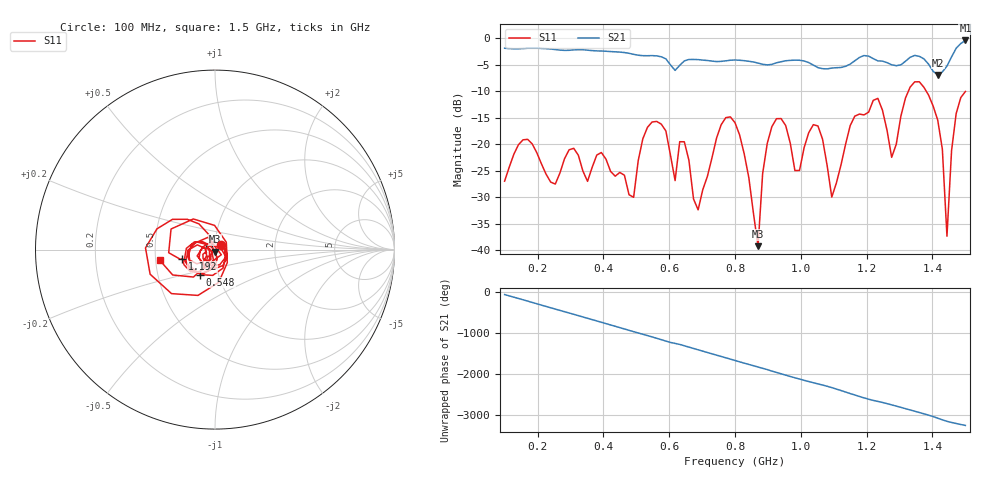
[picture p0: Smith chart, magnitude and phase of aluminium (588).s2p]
! NanoVNA-App
! Date: 2025-09-25 14:59:51
! Start: 100MHz Stop: 1,5GHz Points: 101
! S-Parameter data: F S11 S21 S12 S22
# Hz S RI R 50
!  Frequency  S11_Real  S11_Imag  S21_Real  S21_Imag  S12_Real  S12_Imag  S22_Real  S22_Imag
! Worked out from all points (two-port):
!   101 points, 100 MHz to 1.5 GHz, reference 50 ohm
!   highest |S21| = -0.46 dB at 1.5 GHz (marker M1); lowest = -6.9 dB at 1.416 GHz (marker M2)
!   |S21| within 3 dB of the highest: start of sweep to 570 MHz; 1.459 GHz to end of sweep (the widest 2 of 4)
!   lowest |S11| = -39.2 dB at 870 MHz (marker M3), VSWR 1.02, Z = 50.1 - j1.09 ohm
!   |S11| at or under -10 dB: start of sweep to 1.327 GHz; 1.381 GHz to end of sweep
!   S12 and S22 are empty: the file has one direction only
!   S11 on the Smith chart (normalised r, x): 100 MHz: 1.07, +0.06; 548 MHz: 0.82, -0.23; 1.192 GHz: 0.69, -0.07; 1.5 GHz: 0.53, -0.07
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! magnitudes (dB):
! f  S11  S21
! 100 MHz  -27.0  -1.9
! 156 MHz  -19.2  -2.0
! 338 MHz  -25.1  -2.2
! 492 MHz  -30.0  -3.1
! 548 MHz  -15.8  -3.3
! 576 MHz  -16.2  -3.5
! 646 MHz  -19.5  -4.3
! 688 MHz  -32.4  -4.1
! 800 MHz  -15.9  -4.1
! 870 MHz  -39.2  -4.7
! 912 MHz  -16.7  -5.0
! 996 MHz  -24.9  -4.2
! 1.038 GHz  -16.3  -5.1
! 1.094 GHz  -30.0  -5.7
! 1.192 GHz  -14.5  -3.3
! 1.234 GHz  -11.4  -4.3
! 1.276 GHz  -22.5  -5.0
! 1.346 GHz  -8.3  -3.3
! 1.416 GHz  -15.5  -6.9
! 1.444 GHz  -37.3  -5.3
! 1.472 GHz  -14.2  -1.9
! 1.5 GHz  -10.1  -0.5
